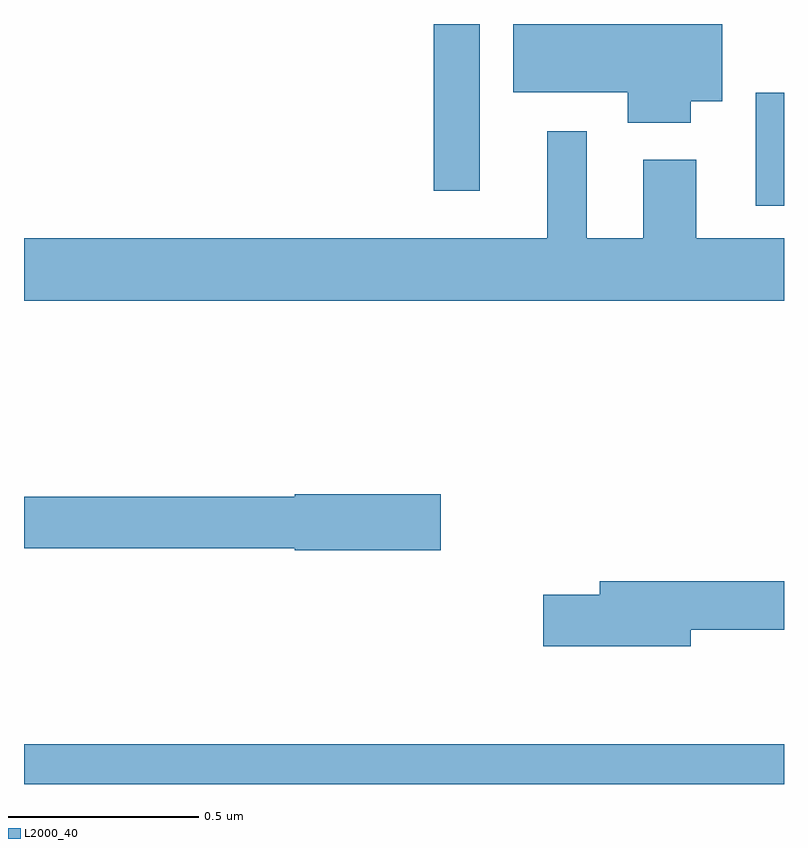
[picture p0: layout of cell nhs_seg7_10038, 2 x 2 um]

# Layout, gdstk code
import gdstk
lib = gdstk.Library(unit=1e-6, precision=1e-09)
def R(c, l, rs):  # rectangles x0, y0, x1, y1
    for r in rs: c.add(gdstk.rectangle(r[:2], r[2:], *l))
def P(c, l, *ps):  # polygons
    for p in ps: c.add(gdstk.Polygon(p, *l))
L2000_40 = (2000, 40)

nhs_seg7_10038 = lib.new_cell('nhs_seg7_10038')
R(nhs_seg7_10038, L2000_40, [(245,1010,247,1010.104), (246.926,1011.522,247,1011.819), (246.078,1011.561,246.199,1012)])
P(nhs_seg7_10038, L2000_40, [(246.754,1011.797),(246.838,1011.797),(246.838,1012),(246.287,1012),(246.287,1011.821),(246.589,1011.821),(246.589,1011.74),(246.754,1011.74)],
  [(247,1011.436),(246.769,1011.436),(246.769,1011.643),(246.629,1011.643),(246.629,1011.436),(246.481,1011.436),(246.481,1011.718),(246.377,1011.718),(246.377,1011.436),(245,1011.436),(245,1011.272),(247,1011.272)],
  [(246.097,1010.762),(245.712,1010.762),(245.712,1010.756),(245,1010.756),(245,1010.62),(245.712,1010.62),(245.712,1010.615),(246.097,1010.615)],
  [(246.754,1010.406),(247,1010.406),(247,1010.534),(246.515,1010.534),(246.515,1010.498),(246.366,1010.498),(246.366,1010.363),(246.754,1010.363)])

lib.write_gds('nhs_seg7_10038.gds')
